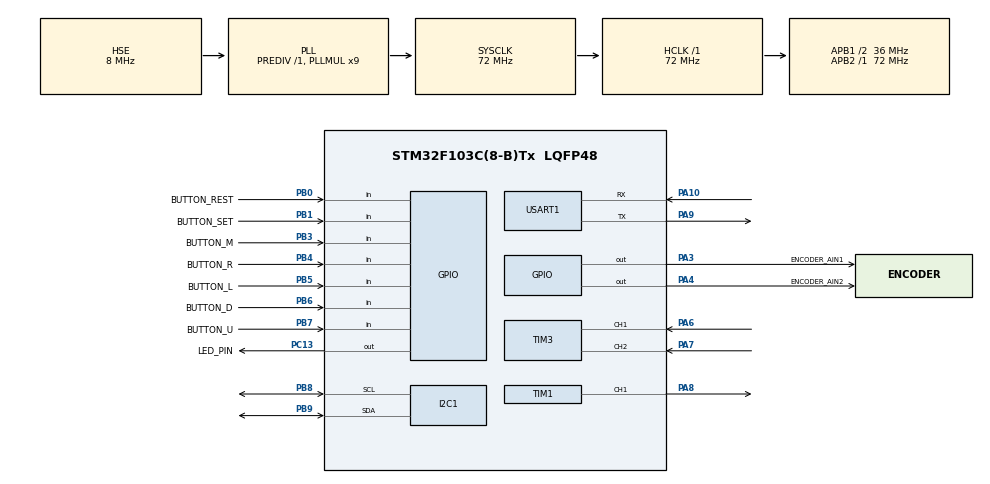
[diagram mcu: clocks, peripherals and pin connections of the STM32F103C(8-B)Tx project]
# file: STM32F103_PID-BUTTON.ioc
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Mcu.Family=STM32F1
Mcu.Name=STM32F103C(8-B)Tx
Mcu.Package=LQFP48
NVIC.PriorityGroup=NVIC_PRIORITYGROUP_4
NVIC.TIM2_IRQn=true\:1\:0\:true\:false\:true\:true\:true\:true
NVIC.TIM3_IRQn=true\:0\:0\:false\:false\:true\:true\:true\:true
NVIC.TIM4_IRQn=true\:0\:0\:false\:false\:true\:true\:true\:true
NVIC.USART1_IRQn=true\:0\:0\:false\:false\:true\:true\:true\:true
PA10.Mode=Asynchronous
PA10.Signal=USART1_RX
PA13.Mode=Serial_Wire
PA13.Signal=SYS_JTMS-SWDIO
PA14.Mode=Serial_Wire
PA14.Signal=SYS_JTCK-SWCLK
PA3.GPIO_Label=ENCODER_AIN1
PA3.GPIO_Speed=GPIO_SPEED_FREQ_HIGH
PA3.Signal=GPIO_Output
PA4.GPIO_Label=ENCODER_AIN2
PA4.GPIO_Speed=GPIO_SPEED_FREQ_HIGH
PA4.Signal=GPIO_Output
PA6.Signal=S_TIM3_CH1
PA7.Signal=S_TIM3_CH2
PA8.Signal=S_TIM1_CH1
PA9.Mode=Asynchronous
PA9.Signal=USART1_TX
PB0.GPIO_Label=BUTTON_REST
PB0.GPIO_PuPd=GPIO_PULLUP
PB0.Signal=GPIO_Input
PB1.GPIO_Label=BUTTON_SET
PB1.GPIO_PuPd=GPIO_PULLUP
PB1.Signal=GPIO_Input
PB3.GPIO_Label=BUTTON_M
PB3.GPIO_PuPd=GPIO_PULLUP
PB3.Signal=GPIO_Input
PB4.GPIO_Label=BUTTON_R
PB4.GPIO_PuPd=GPIO_PULLUP
PB4.Signal=GPIO_Input
PB5.GPIO_Label=BUTTON_L
PB5.GPIO_PuPd=GPIO_PULLUP
PB5.Signal=GPIO_Input
PB6.GPIO_Label=BUTTON_D
PB6.GPIO_PuPd=GPIO_PULLUP
PB6.Signal=GPIO_Input
PB7.GPIO_Label=BUTTON_U
PB7.GPIO_PuPd=GPIO_PULLUP
PB7.Signal=GPIO_Input
PB8.Mode=I2C
PB8.Signal=I2C1_SCL
PB9.Mode=I2C
PB9.Signal=I2C1_SDA
PC13-TAMPER-RTC.GPIO_Label=LED_PIN
PC13-TAMPER-RTC.GPIO_PuPd=GPIO_PULLUP
PC13-TAMPER-RTC.Signal=GPIO_Output
PC14-OSC32_IN.Mode=LSE-External-Oscillator
PC14-OSC32_IN.Signal=RCC_OSC32_IN
PC15-OSC32_OUT.Mode=LSE-External-Oscillator
PC15-OSC32_OUT.Signal=RCC_OSC32_OUT
PD0-OSC_IN.Mode=HSE-External-Oscillator
PD0-OSC_IN.Signal=RCC_OSC_IN
PD1-OSC_OUT.Mode=HSE-External-Oscillator
PD1-OSC_OUT.Signal=RCC_OSC_OUT
ProjectManager.HeapSize=0x200
ProjectManager.StackSize=0x400
ProjectManager.TargetToolchain=Makefile
RCC.AHBFreq_Value=72000000
RCC.APB1CLKDivider=RCC_HCLK_DIV2
RCC.APB1Freq_Value=36000000
RCC.APB1TimFreq_Value=72000000
RCC.APB2Freq_Value=72000000
RCC.APB2TimFreq_Value=72000000
RCC.HCLKFreq_Value=72000000
RCC.PLLMUL=RCC_PLL_MUL9
RCC.PLLSourceVirtual=RCC_PLLSOURCE_HSE
RCC.SYSCLKFreq_VALUE=72000000
RCC.SYSCLKSource=RCC_SYSCLKSOURCE_PLLCLK
RCC.USBFreq_Value=72000000
SH.S_TIM1_CH1.0=TIM1_CH1,PWM Generation1 CH1
SH.S_TIM3_CH1.0=TIM3_CH1,Encoder_Interface
SH.S_TIM3_CH2.0=TIM3_CH2,Encoder_Interface
TIM1.Channel-PWM\ Generation1\ CH1=TIM_CHANNEL_1
TIM1.Period=7200-1
TIM2.AutoReloadPreload=TIM_AUTORELOAD_PRELOAD_ENABLE
TIM2.Period=1000-1
TIM2.Prescaler=7200-1
TIM3.EncoderMode=TIM_ENCODERMODE_TI12
TIM4.AutoReloadPreload=TIM_AUTORELOAD_PRELOAD_ENABLE
TIM4.Period=10000-1
TIM4.Prescaler=72-1
USART1.VirtualMode=VM_ASYNC
VP_TIM2_VS_ClockSourceINT.Mode=Internal
VP_TIM4_VS_ClockSourceINT.Mode=Internal
board=custom

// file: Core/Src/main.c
/* USER CODE BEGIN Header */
/**
 ******************************************************************************
 * @file           : main.c
 * @brief          : Main program body
 ******************************************************************************
 * @attention
 *
 * Copyright (c) 2025 STMicroelectronics.
 * All rights reserved.
 *
 * This software is licensed under terms that can be found in the LICENSE file
 * in the root directory of this software component.
 * If no LICENSE file comes with this software, it is provided AS-IS.
 *
 ******************************************************************************
 */
/* USER CODE END Header */
#include "main.h"
#include "gpio.h"
#include "i2c.h"
#include "tim.h"
#include "usart.h"

/* USER CODE BEGIN Includes */
#include "button.h"
#include "encoder.h"
#include "my_gui.h"
#include "oled_driver.h"
#include "oled_fonts.h"
#include <stdbool.h>
#include <stdio.h>
#include <stdlib.h>

/* USER CODE END Includes */

/* USER CODE BEGIN PTD */
uint8_t rx_buffer[RX_BUFFER_SIZE];
/* USER CODE END PTD */

void SystemClock_Config(void);
/* USER CODE BEGIN PFP */
void HAL_TIM_PeriodElapsedCallback(TIM_HandleTypeDef* htim);
/* USER CODE END PFP */

/* USER CODE BEGIN 0 */
float target_speed; // 定义目标速度
uint8_t READ_SPEED = 0;
uint8_t MPU_READ   = 0;
int up_menu        = 0;
/* USER CODE END 0 */

int main(void)
{

    /* MCU Configuration--------------------------------------------------------*/

    /* Reset of all peripherals, Initializes the Flash interface and the Systick. */
    HAL_Init();

    /* Configure the system clock */
    SystemClock_Config();

    /* Initialize all configured peripherals */
    MX_GPIO_Init();
    MX_I2C1_Init();
    MX_TIM4_Init();
    MX_TIM1_Init();
    MX_TIM2_Init();
    MX_TIM3_Init();
    MX_USART1_UART_Init();
    /* USER CODE BEGIN 2 */
    // printf("MPU IS OK \r\n");
    init_buttons();
    HAL_TIM_Base_Start_IT(&htim4);
    OLED_Init();
    LED_Init();

    logo();
    extern MPU6050_Data mpu6050Data;
    uint8_t menu_point = 0;
    /* USER CODE END 2 */

    /* Infinite loop */
    /* USER CODE BEGIN WHILE */
    while (1)
    {

        menu_point = main_menu(up_menu);
        if (menu_point == 1)
        {
            text_function();
            up_menu = 0;
        }
        if (menu_point == 2)
        {
            pid_function();
            up_menu = 1;
        }
        if (menu_point == 3)
        {
            mpu_function();
            up_menu = 2;
        }

        /* USER CODE END WHILE */

    }
}

void SystemClock_Config(void)
{
    RCC_OscInitTypeDef RCC_OscInitStruct = {0};
    RCC_ClkInitTypeDef RCC_ClkInitStruct = {0};

    /** Initializes the RCC Oscillators according to the specified parameters
     * in the RCC_OscInitTypeDef structure.
     */
    RCC_OscInitStruct.OscillatorType = RCC_OSCILLATORTYPE_HSE;
    RCC_OscInitStruct.HSEState       = RCC_HSE_ON;
    RCC_OscInitStruct.HSEPredivValue = RCC_HSE_PREDIV_DIV1;
    RCC_OscInitStruct.HSIState       = RCC_HSI_ON;
    RCC_OscInitStruct.PLL.PLLState   = RCC_PLL_ON;
    RCC_OscInitStruct.PLL.PLLSource  = RCC_PLLSOURCE_HSE;
    RCC_OscInitStruct.PLL.PLLMUL     = RCC_PLL_MUL9;
    if (HAL_RCC_OscConfig(&RCC_OscInitStruct) != HAL_OK)
    {
        Error_Handler();
    }

    /** Initializes the CPU, AHB and APB buses clocks
     */
    RCC_ClkInitStruct.ClockType =
        RCC_CLOCKTYPE_HCLK | RCC_CLOCKTYPE_SYSCLK | RCC_CLOCKTYPE_PCLK1 | RCC_CLOCKTYPE_PCLK2;
    RCC_ClkInitStruct.SYSCLKSource   = RCC_SYSCLKSOURCE_PLLCLK;
    RCC_ClkInitStruct.AHBCLKDivider  = RCC_SYSCLK_DIV1;
    RCC_ClkInitStruct.APB1CLKDivider = RCC_HCLK_DIV2;
    RCC_ClkInitStruct.APB2CLKDivider = RCC_HCLK_DIV1;

    if (HAL_RCC_ClockConfig(&RCC_ClkInitStruct, FLASH_LATENCY_2) != HAL_OK)
    {
        Error_Handler();
    }
}

/* USER CODE BEGIN 4 */

void HAL_TIM_PeriodElapsedCallback(TIM_HandleTypeDef* htim)
{
    if (htim->Instance == TIM4)
    {
        button_ticks();
        if (MPU_READ)
        {
            MPU6050_Read_All(&mpu6050Data);
        }
    }
    if (htim == &htim2)
    {
        if (READ_SPEED == 1)
        {
            Motor_Speed();
        }
        else
        {
            Update_Motor_Speed(target_speed);
        }
    }
}

/* USER CODE END 4 */

void Error_Handler(void)
{
    __disable_irq();
    while (1) {}
}
